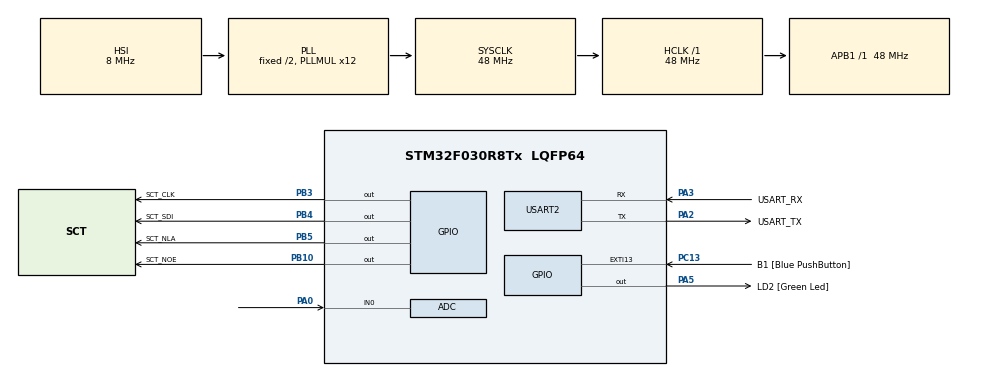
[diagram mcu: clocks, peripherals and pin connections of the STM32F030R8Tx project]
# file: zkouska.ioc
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ADC.ContinuousConvMode=ENABLE
ADC.Overrun=ADC_OVR_DATA_OVERWRITTEN
ADC.SamplingTime=ADC_SAMPLETIME_239CYCLES_5
Mcu.Family=STM32F0
Mcu.Name=STM32F030R8Tx
Mcu.Package=LQFP64
NVIC.ADC1_IRQn=true\:0\:0\:false\:false\:true\:true\:true\:true
PA0.Mode=IN0
PA0.Signal=ADC_IN0
PA13.GPIO_Label=TMS
PA13.Mode=Serial_Wire
PA13.Signal=SYS_SWDIO
PA14.GPIO_Label=TCK
PA14.Mode=Serial_Wire
PA14.Signal=SYS_SWCLK
PA2.GPIO_Label=USART_TX
PA2.GPIO_Mode=GPIO_MODE_AF_PP
PA2.GPIO_PuPd=GPIO_NOPULL
PA2.GPIO_Speed=GPIO_SPEED_FREQ_LOW
PA2.Mode=Asynchronous
PA2.Signal=USART2_TX
PA3.GPIO_Label=USART_RX
PA3.GPIO_Mode=GPIO_MODE_AF_PP
PA3.GPIO_PuPd=GPIO_NOPULL
PA3.GPIO_Speed=GPIO_SPEED_FREQ_LOW
PA3.Mode=Asynchronous
PA3.Signal=USART2_RX
PA5.GPIO_Label=LD2 [Green Led]
PA5.GPIO_Mode=GPIO_MODE_OUTPUT_PP
PA5.GPIO_PuPd=GPIO_NOPULL
PA5.GPIO_Speed=GPIO_SPEED_FREQ_LOW
PA5.Signal=GPIO_Output
PB10.GPIO_Label=SCT_NOE
PB10.Signal=GPIO_Output
PB3.GPIO_Label=SCT_CLK
PB3.Signal=GPIO_Output
PB4.GPIO_Label=SCT_SDI
PB4.Signal=GPIO_Output
PB5.GPIO_Label=SCT_NLA
PB5.Signal=GPIO_Output
PC13.GPIO_Label=B1 [Blue PushButton]
PC13.GPIO_ModeDefaultEXTI=GPIO_MODE_IT_FALLING
PC13.Signal=GPXTI13
PC14-OSC32_IN.Mode=LSE-External-Oscillator
PC14-OSC32_IN.Signal=RCC_OSC32_IN
PC15-OSC32_OUT.Mode=LSE-External-Oscillator
PC15-OSC32_OUT.Signal=RCC_OSC32_OUT
PF0-OSC_IN.Mode=HSE-External-Clock-Source
PF0-OSC_IN.Signal=RCC_OSC_IN
PF1-OSC_OUT.Signal=RCC_OSC_OUT
ProjectManager.HeapSize=0x200
ProjectManager.StackSize=0x400
ProjectManager.TargetToolchain=STM32CubeIDE
RCC.AHBFreq_Value=48000000
RCC.APB1Freq_Value=48000000
RCC.APB1TimFreq_Value=48000000
RCC.HCLKFreq_Value=48000000
RCC.PLLMUL=RCC_PLL_MUL12
RCC.SYSCLKFreq_VALUE=48000000
RCC.SYSCLKSource=RCC_SYSCLKSOURCE_PLLCLK
USART2.VirtualMode-Asynchronous=VM_ASYNC
board=NUCLEO-F030R8

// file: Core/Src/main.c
/* USER CODE BEGIN Header */
/**
  ******************************************************************************
  * @file           : main.c
  * @brief          : Main program body
  ******************************************************************************
  * @attention
  *
  * Copyright (c) 2023 STMicroelectronics.
  * All rights reserved.
  *
  * This software is licensed under terms that can be found in the LICENSE file
  * in the root directory of this software component.
  * If no LICENSE file comes with this software, it is provided AS-IS.
  *
  ******************************************************************************
  */
/* USER CODE END Header */
#include "main.h"

/* USER CODE BEGIN Includes */
#include "sct.h"
/* USER CODE END Includes */

/* USER CODE BEGIN PD */
#define ADC_Q 12 // Q = 2^12, exponential accumulation is divided by Q
/* Temperature sensor calibration value address */
/* USER CODE END PD */

ADC_HandleTypeDef hadc;

UART_HandleTypeDef huart2;

/* USER CODE BEGIN PV */
static volatile uint32_t raw_pot;
/* USER CODE END PV */

void SystemClock_Config(void);
static void MX_GPIO_Init(void);
static void MX_USART2_UART_Init(void);
static void MX_ADC_Init(void);

/* USER CODE BEGIN 0 */
void HAL_ADC_ConvCpltCallback(ADC_HandleTypeDef* hadc) {
	// exponential accumulation algorithm
	static uint32_t avg_pot;
	raw_pot = avg_pot >> ADC_Q;
	avg_pot -= raw_pot;
	avg_pot += HAL_ADC_GetValue(hadc);
}
/* USER CODE END 0 */

int main(void)
{

  /* MCU Configuration--------------------------------------------------------*/

  /* Reset of all peripherals, Initializes the Flash interface and the Systick. */
  HAL_Init();

  /* Configure the system clock */
  SystemClock_Config();

  /* Initialize all configured peripherals */
  MX_GPIO_Init();
  MX_USART2_UART_Init();
  MX_ADC_Init();
  /* USER CODE BEGIN 2 */
  HAL_ADCEx_Calibration_Start(&hadc); // autocalibration
  HAL_ADC_Start_IT(&hadc); // start ADC
  sct_init(); // start sct
  /* USER CODE END 2 */

  /* Infinite loop */
  while (1)
  {

    /* USER CODE BEGIN 3 */
	  static uint32_t LastDisplayTicks = 0;
	  static uint8_t barograph = 0;
	  static uint8_t moveright = 1;
	  static uint32_t raw_pot_limited = 0;
	  static uint8_t first = 1;
	  /*Display block START*/
	  raw_pot_limited = raw_pot*0.1223; // slightly more than 500/2^12 = 0.12207,
	  // 0.1223 value was tested and it is better for function
	  if (raw_pot_limited < 20) {
		  raw_pot_limited = 20;
	  }
	  sct_value(raw_pot_limited, barograph, first);
	  /*Display block END*/
	  /*Barograph block START*/
	  if (HAL_GetTick() >= LastDisplayTicks + raw_pot_limited) { // condition for delay according to raw_pot_limited
		  LastDisplayTicks = HAL_GetTick();
		  if ((barograph <= 7) && (moveright == 1)) {
			  first = 0;
			  barograph++;
		  }
		  else {
			  moveright = 0;
		  }
		  if ((barograph >= 1) && (moveright == 0)) {
			  barograph--;
		  }
		  else if (barograph == 0) {
			  first = 1;
			  moveright = 1;
		  }

		  sct_value(raw_pot_limited, barograph, first);
	  }
	  /*Barograph block END*/
  }
  /* USER CODE END 3 */
}

void SystemClock_Config(void)
{
  RCC_OscInitTypeDef RCC_OscInitStruct = {0};
  RCC_ClkInitTypeDef RCC_ClkInitStruct = {0};

  /** Initializes the RCC Oscillators according to the specified parameters
  * in the RCC_OscInitTypeDef structure.
  */
  RCC_OscInitStruct.OscillatorType = RCC_OSCILLATORTYPE_HSI|RCC_OSCILLATORTYPE_HSI14;
  RCC_OscInitStruct.HSIState = RCC_HSI_ON;
  RCC_OscInitStruct.HSI14State = RCC_HSI14_ON;
  RCC_OscInitStruct.HSICalibrationValue = RCC_HSICALIBRATION_DEFAULT;
  RCC_OscInitStruct.HSI14CalibrationValue = 16;
  RCC_OscInitStruct.PLL.PLLState = RCC_PLL_ON;
  RCC_OscInitStruct.PLL.PLLSource = RCC_PLLSOURCE_HSI;
  RCC_OscInitStruct.PLL.PLLMUL = RCC_PLL_MUL12;
  RCC_OscInitStruct.PLL.PREDIV = RCC_PREDIV_DIV1;
  if (HAL_RCC_OscConfig(&RCC_OscInitStruct) != HAL_OK)
  {
    Error_Handler();
  }

  /** Initializes the CPU, AHB and APB buses clocks
  */
  RCC_ClkInitStruct.ClockType = RCC_CLOCKTYPE_HCLK|RCC_CLOCKTYPE_SYSCLK
                              |RCC_CLOCKTYPE_PCLK1;
  RCC_ClkInitStruct.SYSCLKSource = RCC_SYSCLKSOURCE_PLLCLK;
  RCC_ClkInitStruct.AHBCLKDivider = RCC_SYSCLK_DIV1;
  RCC_ClkInitStruct.APB1CLKDivider = RCC_HCLK_DIV1;

  if (HAL_RCC_ClockConfig(&RCC_ClkInitStruct, FLASH_LATENCY_1) != HAL_OK)
  {
    Error_Handler();
  }
}

static void MX_ADC_Init(void)
{

  ADC_ChannelConfTypeDef sConfig = {0};

  /** Configure the global features of the ADC (Clock, Resolution, Data Alignment and number of conversion)
  */
  hadc.Instance = ADC1;
  hadc.Init.ClockPrescaler = ADC_CLOCK_ASYNC_DIV1;
  hadc.Init.Resolution = ADC_RESOLUTION_12B;
  hadc.Init.DataAlign = ADC_DATAALIGN_RIGHT;
  hadc.Init.ScanConvMode = ADC_SCAN_DIRECTION_FORWARD;
  hadc.Init.EOCSelection = ADC_EOC_SINGLE_CONV;
  hadc.Init.LowPowerAutoWait = DISABLE;
  hadc.Init.LowPowerAutoPowerOff = DISABLE;
  hadc.Init.ContinuousConvMode = ENABLE;
  hadc.Init.DiscontinuousConvMode = DISABLE;
  hadc.Init.ExternalTrigConv = ADC_SOFTWARE_START;
  hadc.Init.ExternalTrigConvEdge = ADC_EXTERNALTRIGCONVEDGE_NONE;
  hadc.Init.DMAContinuousRequests = DISABLE;
  hadc.Init.Overrun = ADC_OVR_DATA_OVERWRITTEN;
  if (HAL_ADC_Init(&hadc) != HAL_OK)
  {
    Error_Handler();
  }

  /** Configure for the selected ADC regular channel to be converted.
  */
  sConfig.Channel = ADC_CHANNEL_0;
  sConfig.Rank = ADC_RANK_CHANNEL_NUMBER;
  sConfig.SamplingTime = ADC_SAMPLETIME_239CYCLES_5;
  if (HAL_ADC_ConfigChannel(&hadc, &sConfig) != HAL_OK)
  {
    Error_Handler();
  }

}

static void MX_USART2_UART_Init(void)
{

  huart2.Instance = USART2;
  huart2.Init.BaudRate = 38400;
  huart2.Init.WordLength = UART_WORDLENGTH_8B;
  huart2.Init.StopBits = UART_STOPBITS_1;
  huart2.Init.Parity = UART_PARITY_NONE;
  huart2.Init.Mode = UART_MODE_TX_RX;
  huart2.Init.HwFlowCtl = UART_HWCONTROL_NONE;
  huart2.Init.OverSampling = UART_OVERSAMPLING_16;
  huart2.Init.OneBitSampling = UART_ONE_BIT_SAMPLE_DISABLE;
  huart2.AdvancedInit.AdvFeatureInit = UART_ADVFEATURE_NO_INIT;
  if (HAL_UART_Init(&huart2) != HAL_OK)
  {
    Error_Handler();
  }

}

static void MX_GPIO_Init(void)
{
  GPIO_InitTypeDef GPIO_InitStruct = {0};

  /* GPIO Ports Clock Enable */
  __HAL_RCC_GPIOC_CLK_ENABLE();
  __HAL_RCC_GPIOF_CLK_ENABLE();
  __HAL_RCC_GPIOA_CLK_ENABLE();
  __HAL_RCC_GPIOB_CLK_ENABLE();

  /*Configure GPIO pin Output Level */
  HAL_GPIO_WritePin(LD2_GPIO_Port, LD2_Pin, GPIO_PIN_RESET);

  /*Configure GPIO pin Output Level */
  HAL_GPIO_WritePin(GPIOB, SCT_NOE_Pin|SCT_CLK_Pin|SCT_SDI_Pin|SCT_NLA_Pin, GPIO_PIN_RESET);

  /*Configure GPIO pin : B1_Pin */
  GPIO_InitStruct.Pin = B1_Pin;
  GPIO_InitStruct.Mode = GPIO_MODE_IT_FALLING;
  GPIO_InitStruct.Pull = GPIO_NOPULL;
  HAL_GPIO_Init(B1_GPIO_Port, &GPIO_InitStruct);

  /*Configure GPIO pin : LD2_Pin */
  GPIO_InitStruct.Pin = LD2_Pin;
  GPIO_InitStruct.Mode = GPIO_MODE_OUTPUT_PP;
  GPIO_InitStruct.Pull = GPIO_NOPULL;
  GPIO_InitStruct.Speed = GPIO_SPEED_FREQ_LOW;
  HAL_GPIO_Init(LD2_GPIO_Port, &GPIO_InitStruct);

  /*Configure GPIO pins : SCT_NOE_Pin SCT_CLK_Pin SCT_SDI_Pin SCT_NLA_Pin */
  GPIO_InitStruct.Pin = SCT_NOE_Pin|SCT_CLK_Pin|SCT_SDI_Pin|SCT_NLA_Pin;
  GPIO_InitStruct.Mode = GPIO_MODE_OUTPUT_PP;
  GPIO_InitStruct.Pull = GPIO_NOPULL;
  GPIO_InitStruct.Speed = GPIO_SPEED_FREQ_LOW;
  HAL_GPIO_Init(GPIOB, &GPIO_InitStruct);

}

void Error_Handler(void)
{
  __disable_irq();
  while (1)
  {
  }
}
